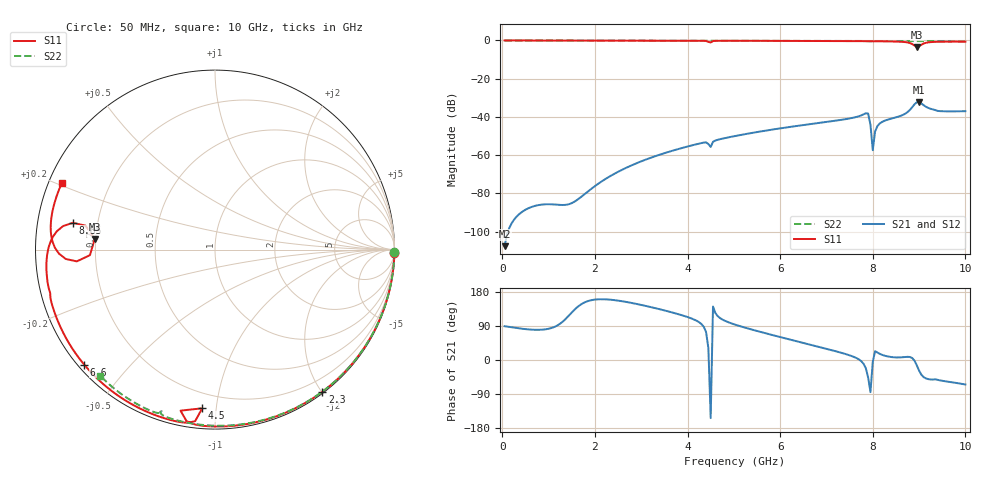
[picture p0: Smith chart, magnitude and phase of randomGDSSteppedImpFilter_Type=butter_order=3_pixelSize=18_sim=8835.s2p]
! freq	dB(S11)	phase(S11)	dB(S12)	phase(S12)
!  dB(S21)	phase(S21)	dB(S22)	phase(S22)
!S-par simulation data
#  GHz  S  DB  R 50
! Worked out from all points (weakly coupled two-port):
!   200 points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, 50 MHz to 10 GHz, reference 50 ohm
!   highest |S21| = -32.25 dB at 9 GHz (marker M1); lowest = -107.7 dB at 50 MHz (marker M2)
!   lowest |S11| = -3.4 dB at 8.95 GHz (marker M3), VSWR 5.11, Z = 9.81 + j2.13 ohm
!   |S11| at or under -10 dB: nowhere
!   |S22| runs from -0.5 to 0.0 dB; largest |S21 - S12| = 0
!   S11 on the Smith chart (normalised r, x): 50 MHz: 1, -96; 2.3 GHz: 0.02, -2.01; 4.5 GHz: 0.11, -0.92; 6.6 GHz: 0.02, -0.38; 8.85 GHz: 0.11, +0.09; 10 GHz: 0.04, +0.21
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0.05  -0.00 -1.2  -107.68 89.1  -107.68 89.1  -0.00 -0.8
1.75  -0.05 -40.7  -80.97 150.3  -80.97 150.3  -0.03 -26.3
2.3  -0.07 -53.0  -71.44 159.5  -71.44 159.5  -0.04 -34.4
3.4  -0.10 -76.6  -59.78 134.0  -59.78 134.0  -0.07 -50.1
4.35  -0.19 -97.5  -53.46 87.7  -53.46 87.7  -0.09 -63.2
4.45  -0.75 -102.1  -54.20 31.3  -54.20 31.3  -0.09 -64.6
4.5  -1.04 -94.6  -55.74 -153.2  -55.74 -153.2  -0.09 -65.3
4.6  -0.22 -98.7  -52.40 124.2  -52.40 124.2  -0.10 -66.6
5.05  -0.17 -108.9  -49.91 92.4  -49.91 92.4  -0.11 -72.6
6.6  -0.26 -138.7  -43.95 41.9  -43.95 41.9  -0.18 -92.3
6.7  -0.27 -140.6  -43.62 38.8  -43.62 38.8  -0.18 -93.6
7.9  -0.42 -164.4  -38.26 -46.4  -38.26 -46.4  -0.42 -108.7
7.95  -0.45 -165.2  -44.10 -84.8  -44.10 -84.8  -0.46 -108.3
8  -0.44 -166.1  -57.43 -4.8  -57.43 -4.8  -0.36 -108.5
8.05  -0.44 -167.2  -47.65 23.3  -47.65 23.3  -0.32 -109.2
8.1  -0.44 -168.3  -44.83 19.7  -44.83 19.7  -0.30 -109.9
8.35  -0.50 -174.1  -41.25 8.8  -41.25 8.8  -0.30 -113.1
8.85  -1.86 169.4  -34.99 5.3  -34.99 5.3  -0.34 -118.9
8.95  -3.45 174.9  -32.34 -13.8  -32.34 -13.8  -0.34 -120.1
9  -3.13 -177.4  -32.25 -28.1  -32.25 -28.1  -0.35 -120.7
9.25  -0.86 177.3  -35.77 -51.4  -35.77 -51.4  -0.37 -123.6
10  -0.63 156.4  -37.01 -64.7  -37.01 -64.7  -0.45 -132.2
